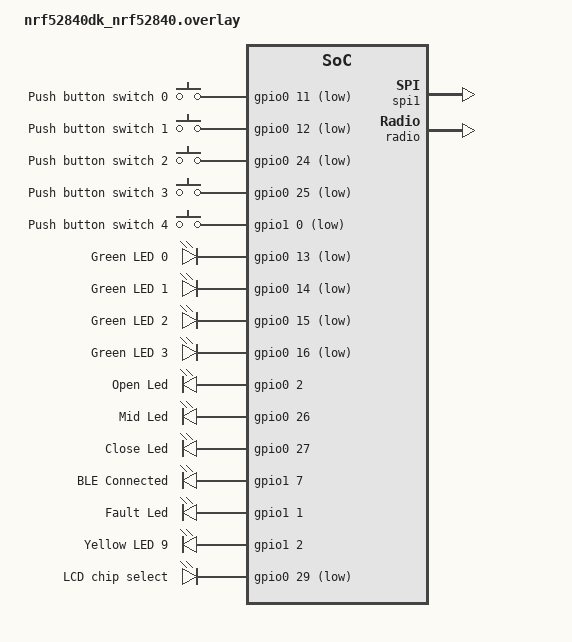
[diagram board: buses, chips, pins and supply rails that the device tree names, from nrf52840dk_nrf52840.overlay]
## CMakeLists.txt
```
#
# Copyright (c) 2018 Nordic Semiconductor
#
# SPDX-License-Identifier: LicenseRef-Nordic-5-Clause
#
cmake_minimum_required(VERSION 3.20.0)

find_package(Zephyr REQUIRED HINTS $ENV{ZEPHYR_BASE})
project(central_uart)

# NORDIC SDK APP START
target_sources(app PRIVATE
  src/main.c
  src/system.c
  src/communications.c
  src/database.c
  src/spin3204_control.c
  src/commands.c
  src/commands_tasks.c
  src/lcd_spiModule.c
  src/remote.c
  src/adt_cbuffer.c
  src/encoding_checksum.cpp
)

target_include_directories(app
  PRIVATE
    ./inc
)
# NORDIC SDK APP END

zephyr_library_include_directories(${CMAKE_CURRENT_SOURCE_DIR})
```

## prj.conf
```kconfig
#
# Copyright (c) 2018 Nordic Semiconductor
#
# SPDX-License-Identifier: LicenseRef-Nordic-5-Clause
#

# Enable the UART driver
CONFIG_UART_ASYNC_API=y
CONFIG_NRFX_UARTE0=y
CONFIG_SERIAL=y
CONFIG_CONSOLE=y
CONFIG_UART_CONSOLE=y

# Enable SPI
CONFIG_SPI=y

# Enable the BLE stack with GATT Client configuration
CONFIG_BT=y
CONFIG_BT_CENTRAL=y
CONFIG_BT_SMP=y
CONFIG_BT_GATT_CLIENT=y

# Enable the BLE modules from NCS
CONFIG_BT_NUS_CLIENT=y
CONFIG_BT_SCAN=y
CONFIG_BT_SCAN_FILTER_ENABLE=y
CONFIG_BT_SCAN_UUID_CNT=1
CONFIG_BT_GATT_DM=y
CONFIG_HEAP_MEM_POOL_SIZE=2048

# This example requires more workqueue stack
CONFIG_SYSTEM_WORKQUEUE_STACK_SIZE=2048

# Enable bonding
CONFIG_BT_SETTINGS=y
CONFIG_FLASH=y
CONFIG_FLASH_PAGE_LAYOUT=y
CONFIG_FLASH_MAP=y
CONFIG_NVS=y
CONFIG_SETTINGS=y

# Config logger
CONFIG_LOG=y
CONFIG_USE_SEGGER_RTT=y
CONFIG_LOG_BACKEND_RTT=n
CONFIG_LOG_BACKEND_UART=y
CONFIG_LOG_PRINTK=n

CONFIG_ASSERT=n

# Enable DK LED and Buttons library
CONFIG_DK_LIBRARY=y

# Floating point
CONFIG_FPU=y

CONFIG_BT_HCI_VS_EXT=n
CONFIG_BT_AUTO_PHY_UPDATE=y
CONFIG_BT_CTLR_ADV_EXT=y
CONFIG_BT_CTLR_PHY_CODED=y

CONFIG_BT_EXT_ADV=y
CONFIG_BT_USER_PHY_UPDATE=y

CONFIG_BT_CTLR_CONN_RSSI=y

CONFIG_BT_CTLR_TX_PWR_PLUS_8=y

CONFIG_MPSL=y
CONFIG_MPSL_FEM=y
CONFIG_MPSL_FEM_NRF21540_GPIO_SPI=y
CONFIG_MPSL_FEM_NRF21540_TX_GAIN_DB=22
CONFIG_MPSL_FEM_NRF21540_TX_GAIN_DB_POUTA=22
CONFIG_MPSL_FEM_POWER_MODEL_NRF21540_USE_BUILTIN=y
```

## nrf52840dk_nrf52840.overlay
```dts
// To get started, press Ctrl+Space to bring up the completion menu and view the available nodes.

// You can also use the buttons in the sidebar to perform actions on nodes.
// Actions currently available include:

// * Enabling / disabling the node
// * Adding the bus to a bus
// * Removing the node
// * Connecting ADC channels

// For more help, browse the DeviceTree documentation at https: //docs.zephyrproject.org/latest/guides/dts/index.html
// You can also visit the nRF DeviceTree extension documentation at https: //nrfconnect.github.io/vscode-nrf-connect/devicetree/nrfdevicetree.html
&arduino_i2c {
    status = "disabled";
};

lcd_spi: &spi1 {
    status = "okay";
    compatible = "nordic,nrf-spim";
};


/{
    buttons {
        compatible = "gpio-keys";
        button0: button_0 {
            gpios = <&gpio0 11 (GPIO_PULL_UP | GPIO_ACTIVE_LOW)>;
            label = "Push button switch 0";
            zephyr,code = <INPUT_KEY_0>;
        };
        button1: button_1 {
            gpios = <&gpio0 12 (GPIO_PULL_UP | GPIO_ACTIVE_LOW)>;
            label = "Push button switch 1";
            zephyr,code = <INPUT_KEY_1>;
        };
        button2: button_2 {
            gpios = <&gpio0 24 (GPIO_PULL_UP | GPIO_ACTIVE_LOW)>;
            label = "Push button switch 2";
            zephyr,code = <INPUT_KEY_2>;
        };
        button3: button_3 {
            gpios = <&gpio0 25 (GPIO_PULL_UP | GPIO_ACTIVE_LOW)>;
            label = "Push button switch 3";
            zephyr,code = <INPUT_KEY_3>;
        };
        button4: button_4 {
            gpios = <&gpio1 0 (GPIO_ACTIVE_LOW)>;
            label = "Push button switch 4";
            zephyr,code = <INPUT_KEY_4>;
        };
    };

    leds {
        compatible = "gpio-leds";
        led0: led_0 {
            gpios = <&gpio0 13 GPIO_ACTIVE_LOW>;
            label = "Green LED 0";
        };
        led1: led_1 {
            gpios = <&gpio0 14 GPIO_ACTIVE_LOW>;
            label = "Green LED 1";
        };
        led2: led_2 {
            gpios = <&gpio0 15 GPIO_ACTIVE_LOW>;
            label = "Green LED 2";
        };
        led3: led_3 {
            gpios = <&gpio0 16 GPIO_ACTIVE_LOW>;
            label = "Green LED 3";
        };
        led4: led_4 {
            gpios = <&gpio0 2 GPIO_ACTIVE_HIGH>;
            label = "Open Led";
        };
        led5: led_5 {
            gpios = <&gpio0 26 GPIO_ACTIVE_HIGH>;
            label = "Mid Led";
        };
        led6: led_6 {
            gpios = <&gpio0 27 GPIO_ACTIVE_HIGH>;
            label = "Close Led";
        };
        led7: led_7 {
            gpios = <&gpio1 7 GPIO_ACTIVE_HIGH>;
            label = "BLE Connected";
        };
        led8: led_8 {
            gpios = <&gpio1 1 GPIO_ACTIVE_HIGH>;
            label = "Fault Led";
        };
        led9: led_9 {
            gpios = <&gpio1 2 GPIO_ACTIVE_HIGH>;
            label = "Yellow LED 9";
        };
    };

    spi_cs {
        compatible = "gpio-leds";
        lcdcs: lcd_cs {
            gpios = <&gpio0 29 GPIO_ACTIVE_LOW>;
            label = "LCD chip select";
        };
    };
};


&radio {
    fem = <&nrf_radio_fem>;
};
```

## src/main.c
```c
/*
 * Copyright (c) 2018 Nordic Semiconductor ASA
 *
 * SPDX-License-Identifier: LicenseRef-Nordic-5-Clause
 */

/** @file
 *  @brief Nordic UART Service Client sample
 */

#include <errno.h>
#include <zephyr/kernel.h>
#include <zephyr/device.h>
#include <zephyr/devicetree.h>
#include <zephyr/sys/byteorder.h>
#include <zephyr/sys/printk.h>

#include <zephyr/bluetooth/bluetooth.h>
#include <zephyr/bluetooth/hci.h>
#include <zephyr/bluetooth/conn.h>
#include <zephyr/bluetooth/uuid.h>
#include <zephyr/bluetooth/gatt.h>

#include <bluetooth/services/nus.h>
#include <bluetooth/services/nus_client.h>
#include <bluetooth/gatt_dm.h>
#include <bluetooth/scan.h>

#include <sdc_hci_vs.h>
#include <sdc_hci_cmd_status_params.h>

#include <dk_buttons_and_leds.h>

#include <zephyr/settings/settings.h>

#include <zephyr/drivers/uart.h>

#include <zephyr/drivers/gpio.h>
#include <zephyr/drivers/spi.h>

#include <zephyr/logging/log.h>

#include "system.h"

#define LOG_MODULE_NAME central_uart
LOG_MODULE_REGISTER(LOG_MODULE_NAME);

/* UART payload buffer element size. */
#define STACKSIZE 1024
#define PRIORITY_BLE 5
#define PRIORITY_UI 7
#define PRIORITY_RSSI 13
#define UART_BUF_SIZE 20

#define KEY_PASSKEY_ACCEPT DK_BTN1_MSK
#define KEY_PASSKEY_REJECT DK_BTN2_MSK

#define NUS_WRITE_TIMEOUT K_MSEC(150)
#define UART_WAIT_FOR_BUF_DELAY K_MSEC(50)
#define UART_RX_TIMEOUT 50

#define CON_STATUS_LED 7

static const struct device *uart = DEVICE_DT_GET(DT_NODELABEL(uart0));
static struct k_work_delayable uart_work;

static const struct device *lcd = DEVICE_DT_GET(DT_NODELABEL(lcd_spi));

static const struct gpio_dt_spec lcdcs = GPIO_DT_SPEC_GET(DT_NODELABEL(lcdcs),
														  gpios);

static K_SEM_DEFINE(nus_write_sem, 0, 1);
static K_SEM_DEFINE(lcd_ini_ok, 0, 1);
static K_SEM_DEFINE(rssi_sem, 0, 1);

struct uart_data_t
{
	void *fifo_reserved;
	uint8_t data[UART_BUF_SIZE];
	uint16_t len;
};

static K_FIFO_DEFINE(fifo_uart_tx_data);
static K_FIFO_DEFINE(fifo_uart_rx_data);

static struct bt_conn *default_conn;
static struct bt_nus_client nus_client;

static void ble_data_sent(struct bt_nus_client *nus, uint8_t err,
						  const uint8_t *const data, uint16_t len)
{
	ARG_UNUSED(nus);

	struct uart_data_t *buf;

	/* Retrieve buffer context. */
	buf = CONTAINER_OF(data, struct uart_data_t, data[0]);
	k_free(buf);

	k_sem_give(&nus_write_sem);

	if (err)
	{
		LOG_WRN("ATT error code: 0x%02X", err);
	}
}

static uint8_t ble_data_received(struct bt_nus_client *nus,
								 const uint8_t *data, uint16_t len)
{
	ARG_UNUSED(nus);

	if (len == 12)
	{
		LOG_DBG("%.10s", data);
	}
	else
	{
		LOG_DBG("%s", data);
	}
	system_receiveUpdate(data, len);

	return BT_GATT_ITER_CONTINUE;
}

static void uart_cb(const struct device *dev, struct uart_event *evt, void *user_data)
{
	ARG_UNUSED(dev);

	static size_t aborted_len;
	struct uart_data_t *buf;
	static uint8_t *aborted_buf;
	static bool disable_req;

	switch (evt->type)
	{
	case UART_TX_DONE:
		LOG_DBG("UART_TX_DONE");
		if ((evt->data.tx.len == 0) ||
			(!evt->data.tx.buf))
		{
			return;
		}

		if (aborted_buf)
		{
			buf = CONTAINER_OF(aborted_buf, struct uart_data_t,
							   data[0]);
			aborted_buf = NULL;
			aborted_len = 0;
		}
		else
		{
			buf = CONTAINER_OF(evt->data.tx.buf,
							   struct uart_data_t,
							   data[0]);
		}

		k_free(buf);

		buf = k_fifo_get(&fifo_uart_tx_data, K_NO_WAIT);
		if (!buf)
		{
			return;
		}

		if (uart_tx(uart, buf->data, buf->len, SYS_FOREVER_MS))
		{
			LOG_WRN("Failed to send data over UART");
		}

		break;

	case UART_RX_RDY:
		LOG_DBG("UART_RX_RDY");
		buf = CONTAINER_OF(evt->data.rx.buf, struct uart_data_t, data[0]);
		buf->len += evt->data.rx.len;

		if (disable_req)
		{
			return;
		}

		if ((evt->data.rx.buf[buf->len - 1] == '\n') ||
			(evt->data.rx.buf[buf->len - 1] == '\r'))
		{
			disable_req = true;
			uart_rx_disable(uart);
		}

		break;

	case UART_RX_DISABLED:
		LOG_DBG("UART_RX_DISABLED");
		disable_req = false;

		buf = k_malloc(sizeof(*buf));
		if (buf)
		{
			buf->len = 0;
		}
		else
		{
			LOG_WRN("Not able to allocate UART receive buffer");
			k_work_reschedule(&uart_work, UART_WAIT_FOR_BUF_DELAY);
			return;
		}

		uart_rx_enable(uart, buf->data, sizeof(buf->data),
					   UART_RX_TIMEOUT);

		break;

	case UART_RX_BUF_REQUEST:
		LOG_DBG("UART_RX_BUF_REQUEST");
		buf = k_malloc(sizeof(*buf));
		if (buf)
		{
			buf->len = 0;
			uart_rx_buf_rsp(uart, buf->data, sizeof(buf->data));
		}
		else
		{
			LOG_WRN("Not able to allocate UART receive buffer");
		}

		break;

	case UART_RX_BUF_RELEASED:
		LOG_DBG("UART_RX_BUF_RELEASED");
		buf = CONTAINER_OF(evt->data.rx_buf.buf, struct uart_data_t,
						   data[0]);

		if (buf->len > 0)
		{
			k_fifo_put(&fifo_uart_rx_data, buf);
		}
		else
		{
			k_free(buf);
		}

		break;

	case UART_TX_ABORTED:
		LOG_DBG("UART_TX_ABORTED");
		if (!aborted_buf)
		{
			aborted_buf = (uint8_t *)evt->data.tx.buf;
		}

		aborted_len += evt->data.tx.len;
		buf = CONTAINER_OF(aborted_buf, struct uart_data_t,
						   data[0]);

		uart_tx(uart, &buf->data[aborted_len],
				buf->len - aborted_len, SYS_FOREVER_MS);

		break;

	default:
		break;
	}
}

static void uart_work_handler(struct k_work *item)
{
	struct uart_data_t *buf;

	buf = k_malloc(sizeof(*buf));
	if (buf)
	{
		buf->len = 0;
	}
	else
	{
		LOG_WRN("Not able to allocate UART receive buffer");
		k_work_reschedule(&uart_work, UART_WAIT_FOR_BUF_DELAY);
		return;
	}

	uart_rx_enable(uart, buf->data, sizeof(buf->data), UART_RX_TIMEOUT);
}

static int uart_init(void)
{
	int err;
	struct uart_data_t *rx;

	if (!device_is_ready(uart))
	{
		LOG_ERR("UART device not ready");
		return -ENODEV;
	}

	rx = k_malloc(sizeof(*rx));
	if (rx)
	{
		rx->len = 0;
	}
	else
	{
		return -ENOMEM;
	}

	k_work_init_delayable(&uart_work, uart_work_handler);

	err = uart_callback_set(uart, uart_cb, NULL);
	if (err)
	{
		return err;
	}

	return uart_rx_enable(uart, rx->data, sizeof(rx->data),
						  UART_RX_TIMEOUT);
}

static void discovery_complete(struct bt_gatt_dm *dm,
							   void *context)
{
	struct bt_nus_client *nus = context;
	LOG_INF("Service discovery completed");

	bt_gatt_dm_data_print(dm);

	bt_nus_handles_assign(dm, nus);
	bt_nus_subscribe_receive(nus);

	bt_gatt_dm_data_release(dm);
}

static void discovery_service_not_found(struct bt_conn *conn,
										void *context)
{
	LOG_INF("Service not found");
}

static void discovery_error(struct bt_conn *conn,
							int err,
							void *context)
{
	LOG_WRN("Error while discovering GATT database: (%d)", err);
}

struct bt_gatt_dm_cb discovery_cb = {
	.completed = discovery_complete,
	.service_not_found = discovery_service_not_found,
	.error_found = discovery_error,
};

static void gatt_discover(struct bt_conn *conn)
{
	int err;

	if (conn != default_conn)
	{
		return;
	}

	err = bt_gatt_dm_start(conn,
						   BT_UUID_NUS_SERVICE,
						   &discovery_cb,
						   &nus_client);
	if (err)
	{
		LOG_ERR("could not start the discovery procedure, error "
				"code: %d",
				err);
	}
}

static void exchange_func(struct bt_conn *conn, uint8_t err, struct bt_gatt_exchange_params *params)
{
	if (!err)
	{
		LOG_INF("MTU exchange done");
	}
	else
	{
		LOG_WRN("MTU exchange failed (err %" PRIu8 ")", err);
	}
}

static void connected(struct bt_conn *conn, uint8_t conn_err)
{
	char addr[BT_ADDR_LE_STR_LEN];
	int err;

	bt_addr_le_to_str(bt_conn_get_dst(conn), addr, sizeof(addr));

	if (conn_err)
	{
		LOG_INF("Failed to connect to %s (%d)", addr, conn_err);

		if (default_conn == conn)
		{
			bt_conn_unref(default_conn);
			default_conn = NULL;

			err = bt_scan_start(BT_SCAN_TYPE_SCAN_ACTIVE);
			if (err)
			{
				LOG_ERR("Scanning failed to start (err %d)",
						err);
			}
		}

		return;
	}

	dk_set_led_on(CON_STATUS_LED);
	LOG_INF("Connected: %s", addr);

	static struct bt_gatt_exchange_params exchange_params;

	exchange_params.func = exchange_func;
	err = bt_gatt_exchange_mtu(conn, &exchange_params);
	if (err)
	{
		LOG_WRN("MTU exchange failed (err %d)", err);
	}

	err = bt_conn_set_security(conn, BT_SECURITY_L2);
	if (err)
	{
		LOG_WRN("Failed to set security: %d", err);

		gatt_discover(conn);
	}

	err = bt_scan_stop();
	if ((!err) && (err != -EALREADY))
	{
		LOG_ERR("Stop LE scan failed (err %d)", err);
	}

	k_sem_give(&rssi_sem);
}

static void disconnected(struct bt_conn *conn, uint8_t reason)
{
	char addr[BT_ADDR_LE_STR_LEN];
	int err;

	bt_addr_le_to_str(bt_conn_get_dst(conn), addr, sizeof(addr));

	LOG_INF("Disconnected: %s (reason %u)", addr, reason);
	dk_set_led_off(CON_STATUS_LED);

	if (default_conn != conn)
	{
		return;
	}

	bt_conn_unref(default_conn);
	default_conn = NULL;

	err = bt_scan_start(BT_SCAN_TYPE_SCAN_ACTIVE);
	if (err)
	{
		LOG_ERR("Scanning failed to start (err %d)",
				err);
	}
}

static void security_changed(struct bt_conn *conn, bt_security_t level,
							 enum bt_security_err err)
{
	char addr[BT_ADDR_LE_STR_LEN];

	bt_addr_le_to_str(bt_conn_get_dst(conn), addr, sizeof(addr));

	if (!err)
	{
		LOG_INF("Security changed: %s level %u", addr, level);
	}
	else
	{
		LOG_WRN("Security failed: %s level %u err %d", addr,
				level, err);
	}

	gatt_discover(conn);
}

BT_CONN_CB_DEFINE(conn_callbacks) = {
	.connected = connected,
	.disconnected = disconnected,
	.security_changed = security_changed};

static void scan_filter_match(struct bt_scan_device_info *device_info,
							  struct bt_scan_filter_match *filter_match,
							  bool connectable)
{
	int err;
	char addr[BT_ADDR_LE_STR_LEN];
	struct bt_conn_le_create_param *conn_params;

	bt_addr_le_to_str(device_info->recv_info->addr, addr, sizeof(addr));

	LOG_INF("Filters matched. Address: %s connectable: %d",
			addr, connectable);

	err = bt_scan_stop();
	if (err)
	{
		LOG_INF("Stop LE scan failed (err %d)", err);
	}
	conn_params = BT_CONN_LE_CREATE_PARAM(
		BT_CONN_LE_OPT_CODED | BT_CONN_LE_OPT_NO_1M,
		BT_GAP_SCAN_FAST_INTERVAL,
		BT_GAP_SCAN_FAST_INTERVAL);
	err = bt_conn_le_create(device_info->recv_info->addr, conn_params,
							BT_LE_CONN_PARAM_DEFAULT,
							&default_conn);
	if (err)
	{
		LOG_INF("Create conn failed (err %d)", err);
		err = bt_scan_start(BT_SCAN_TYPE_SCAN_ACTIVE);
		if (err)
		{
			LOG_INF("Scanning failed to start (err %d)", err);
			return;
		}
	}
	LOG_INF("Connection pending");
}

static void scan_connecting_error(struct bt_scan_device_info *device_info)
{
	LOG_WRN("Connecting failed");
}

static void scan_connecting(struct bt_scan_device_info *device_info,
							struct bt_conn *conn)
{
	default_conn = bt_conn_ref(conn);
}

static int nus_client_init(void)
{
	int err;
	struct bt_nus_client_init_param init = {
		.cb = {
			.received = ble_data_received,
			.sent = ble_data_sent,
		}};

	err = bt_nus_client_init(&nus_client, &init);
	if (err)
	{
		LOG_ERR("NUS Client initialization failed (err %d)", err);
		return err;
	}

	LOG_INF("NUS Client module initialized");
	return err;
}

BT_SCAN_CB_INIT(scan_cb, scan_filter_match, NULL,
				scan_connecting_error, scan_connecting);

static int scan_init(void)
{
	int err;
	/* Use active scanning and disable duplicate filtering to handle any
	 * devices that might update their advertising data at runtime. */
	struct bt_le_scan_param scan_param = {
		.type = BT_LE_SCAN_TYPE_ACTIVE,
		.interval = BT_GAP_SCAN_FAST_INTERVAL,
		.window = BT_GAP_SCAN_FAST_WINDOW,
		.options = BT_LE_SCAN_OPT_CODED | BT_LE_SCAN_OPT_NO_1M};

	struct bt_scan_init_param scan_init = {
		.connect_if_match = 1,
		.scan_param = &scan_param,
		.conn_param = NULL};

	bt_scan_init(&scan_init);
	bt_scan_cb_register(&scan_cb);

	err = bt_scan_filter_add(BT_SCAN_FILTER_TYPE_UUID, BT_UUID_NUS_SERVICE);
	if (err)
	{
		LOG_ERR("Scanning filters cannot be set (err %d)", err);
		return err;
	}

	err = bt_scan_filter_enable(BT_SCAN_UUID_FILTER, false);
	if (err)
	{
		LOG_ERR("Filters cannot be turned on (err %d)", err);
		return err;
	}

	LOG_INF("Scan module initialized");
	return err;
}

static void auth_cancel(struct bt_conn *conn)
{
	char addr[BT_ADDR_LE_STR_LEN];

	bt_addr_le_to_str(bt_conn_get_dst(conn), addr, sizeof(addr));

	LOG_INF("Pairing cancelled: %s", addr);
}

static void pairing_complete(struct bt_conn *conn, bool bonded)
{
	char addr[BT_ADDR_LE_STR_LEN];

	bt_addr_le_to_str(bt_conn_get_dst(conn), addr, sizeof(addr));

	LOG_INF("Pairing completed: %s, bonded: %d", addr, bonded);
}

static void pairing_failed(struct bt_conn *conn, enum bt_security_err reason)
{
	char addr[BT_ADDR_LE_STR_LEN];

	bt_addr_le_to_str(bt_conn_get_dst(conn), addr, sizeof(addr));

	LOG_WRN("Pairing failed conn: %s, reason %d", addr, reason);
}

static struct bt_conn_auth_cb conn_auth_callbacks = {
	.cancel = auth_cancel,
};

static struct bt_conn_auth_info_cb conn_auth_info_callbacks = {
	.pairing_complete = pairing_complete,
	.pairing_failed = pairing_failed};

static void configure_gpio(void)
{
	int err;

	err = dk_buttons_init(system_updateButtons);
	if (err)
	{
		LOG_ERR("Cannot init buttons (err: %d)", err);
	}

	err = dk_leds_init();
	if (err)
	{
		LOG_ERR("Cannot init LEDs (err: %d)", err);
	}
}

static int configure_spi(void)
{
	int err;

	err = gpio_pin_configure_dt(&lcdcs, GPIO_OUTPUT);
	if (err)
	{
		LOG_ERR("Cannot configure LCD CS gpio");
		return -ENODEV;
	}
	gpio_pin_set_dt(&lcdcs, 0);

	if (!device_is_ready(lcd))
	{
		LOG_ERR("SPI not initialized");
		return -ENODEV;
	}

	return 0;
}

#define FEM_NRF_NODE DT_NODELABEL(nrf_radio_fem)
static const struct gpio_dt_spec antenna_sel = GPIO_DT_SPEC_GET(FEM_NRF_NODE, ant_sel_gpios);

int main(void)
{
	int err;

	configure_gpio();

	configure_spi();

	err = bt_conn_auth_cb_register(&conn_auth_callbacks);
	if (err)
	{
		LOG_ERR("Failed to register authorization callbacks.");
		return 0;
	}

	err = bt_conn_auth_info_cb_register(&conn_auth_info_callbacks);
	if (err)
	{
		printk("Failed to register authorization info callbacks.\n");
		return 0;
	}

	err = bt_enable(NULL);
	if (err)
	{
		LOG_ERR("Bluetooth init failed (err %d)", err);
		return 0;
	}
	LOG_INF("Bluetooth initialized");

	if (IS_ENABLED(CONFIG_SETTINGS))
	{
		settings_load();
	}

	err = uart_init();
	if (err != 0)
	{
		LOG_ERR("uart_init failed (err %d)", err);
		return 0;
	}

	// Select Antenna 2
	gpio_pin_set_dt(&antenna_sel, 1);

	err = scan_init();
	if (err != 0)
	{
		LOG_ERR("scan_init failed (err %d)", err);
		return 0;
	}

	err = nus_client_init();
	if (err != 0)
	{
		LOG_ERR("nus_client_init failed (err %d)", err);
		return 0;
	}

	printk("**STAVENG TRANSFERA** \n");
	printk("-- Searching for slaves... \n");

	err = bt_scan_start(BT_SCAN_TYPE_SCAN_ACTIVE);
	if (err)
	{
		LOG_ERR("Scanning failed to start (err %d)", err);
		return 0;
	}

	LOG_INF("Scanning successfully started");

	system_init(lcd, &lcdcs);
	k_sem_give(&lcd_ini_ok);

	for (;;)
	{
		system_thread();
		k_sleep(K_MSEC(25));
	}
}

void sendBLE(uint8_t *data, uint8_t len)
{
	for (uint16_t pos = 0; pos != len;)
	{
		struct uart_data_t *tx = k_malloc(sizeof(*tx));

		if (!tx)
		{
			LOG_WRN("Not able to allocate UART send data buffer");
			return;
		}

		if ((len - pos) > sizeof(tx->data))
		{
			tx->len = sizeof(tx->data);
		}
		else
		{
			tx->len = (len - pos);
		}

		memcpy(tx->data, &data[pos], tx->len);

		pos += tx->len;

		k_fifo_put(&fifo_uart_rx_data, tx);
	}
}

static void update_user_interface(void)
{
	k_sem_take(&lcd_ini_ok, K_FOREVER);

	for (;;)
	{
		struct bt_conn_info info = {.state = BT_CONN_STATE_DISCONNECTED};
		if (default_conn && bt_conn_get_info(default_conn, &info))
		{
			LOG_WRN("Error getting BT connection info");
		}

		uint8_t connectionState = 0;
		if (info.state == BT_CONN_STATE_CONNECTED)
		{
			connectionState = BT_CONN_STATE_CONNECTED;
		}
		system_updateUi(connectionState);
		k_sleep(K_MSEC(500));
	}
}

static void ble_write_thread(void)
{
	for (;;)
	{
		uint8_t log = 1;
		/* Wait indefinitely for data to be sent over Bluetooth */
		struct uart_data_t *buf = k_fifo_get(&fifo_uart_rx_data,
											 K_FOREVER);

		if (bt_nus_client_send(&nus_client, buf->data, buf->len))
		{
			LOG_WRN("Failed to send data over BLE connection");
		}

		while (k_sem_take(&nus_write_sem, NUS_WRITE_TIMEOUT))
		{
			if (log)
			{
				LOG_WRN("NUS send timeout");
				log = 0;
			}
		}
	}
}

void ble_rssi_thread(void)
{
	uint16_t conn_handle = 0;

	while (1)
	{
		k_sem_take(&rssi_sem, K_FOREVER);
		k_sleep(K_MSEC(2000));
		bt_hci_get_conn_handle(default_conn, &conn_handle);
		sdc_hci_cmd_sp_read_rssi_t p_param = {conn_handle};

		for (;;)
		{
			sdc_hci_cmd_sp_read_rssi_return_t p_return = {conn_handle, 0};
			uint8_t err = sdc_hci_cmd_sp_read_rssi(&p_param, &p_return);
			if (err)
			{
				LOG_WRN("Error %d Reading RSSI", err);
				break;
			}
			else
			{
				system_setRssi(p_return.rssi);
			}

			k_sleep(K_MSEC(1000));
		}
	}
}

K_THREAD_DEFINE(ble_thread_id, STACKSIZE, ble_write_thread, NULL, NULL, NULL, PRIORITY_BLE, 0, 0);

K_THREAD_DEFINE(ui_thread_id, STACKSIZE, update_user_interface, NULL, NULL,
				NULL, PRIORITY_UI, 0, 0);

K_THREAD_DEFINE(ble_rssi_thread_id, STACKSIZE, ble_rssi_thread, NULL, NULL,
				NULL, PRIORITY_RSSI, 0, 0);
```

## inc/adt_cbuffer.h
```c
#ifndef ADT_CBUFFER_H_
#define ADT_CBUFFER_H_

#include "adt_codes.h"
#include <stdint.h>

/*
 * Circular buffer ADT
 *
 * Data is designated in 8-bit chunks, adding a void*
 * will split the data up in uint8_t. It is expected
 * that all the data is aligned to tsize.
 */

/**
 * @brief Structure for cbuffer internals.
 */
typedef struct Adt_CBuffer_t_ Adt_CBuffer_t;

/**
 * @brief Initialize the cbuffer for use.
 *
 * @param[in] handle pointer to an allocated buffer struct.
 * @param[in] buffer pointer to an allocated data array of the size required (@ref length).
 * @param[in] size type size of a single element of the data array. Eg. sizeof(uint8_t).
 * @param[in] length number of elements in the data array.
 * @returns ADT_OK on success or ADT_ERROR on failure / bad parameters.
 */
Adt_Result_e adt_cbuffer_init(Adt_CBuffer_t *handle, void *buffer, uint8_t size, uint16_t length);

/**
 * @brief Length of the cbuffer (number of stored items).
 *
 * @param[in] handle pointer to an allocated and initialized buffer struct.
 * @returns number of elements in the cbuffer, or -1 if uninitialized or error.
 */
int32_t adt_cbuffer_getLength(const Adt_CBuffer_t *handle);

/**
 * @brief Push an item (or items) into the cbuffer.
 *
 * @param[in] handle pointer to an allocated and initialized buffer struct.
 * @param[in] buffer array of data to store in the cbuffer. The array elements must be partitioned
 * in chunks of typeSize, per the adt_cbuffer_init(...) parameter, or behavior is undefined.
 * @param[in] count number of items from the data array to store. Must be less than or equal to the
 * data array length and less than or equal to the available free space in the cbuffer.
 * @returns ADT_OK on success or ADT_ERROR/ADT_OVERFLOW on failure / bad parameters.
 */
Adt_Result_e adt_cbuffer_push(Adt_CBuffer_t *handle, const void *const buffer, uint16_t count);

/**
 * @brief Read an item (or items) from the cbuffer.
 *
 * This removes the items from the buffer and increases available space for writing.
 *
 * @param[in] handle pointer to an allocated and initialized buffer struct.
 * @param[out] buffer allocated array to store the read elements. The array elements must be
 * partitioned in chunks of typeSize, per the adt_cbuffer_init(...) parameter, or behavior
 * is undefined.
 * @param[in] count number of items to read from the buffer. Must be less than or equal to the
 * number of items stored in the cbuffer.
 * @returns ADT_OK on success or ADT_ERROR/ADT_UNDDERUN on failure / bad parameters.
 */
Adt_Result_e adt_cbuffer_poll(Adt_CBuffer_t *handle, void *buffer, uint16_t count);

/**
 * @brief Read a single item from the cbuffer.
 *
 * This peeks at the first item ready to be read from the buffer. This does not remove the item and
 * does not increases available space for writing.
 *
 * @param handle pointer to an allocated and initialized buffer struct.
 * @param buffer pointer to a variable to store the read element. The variable must match typeSize,
 * per the adt_cbuffer_init(...) parameter, or behavior is undefined.
 * @returns ADT_OK on success or ADT_ERROR/ADT_UNDDERUN on failure / bad parameters.
 */
Adt_Result_e adt_cbuffer_peek(Adt_CBuffer_t *handle, void *buffer);

/**
 * @brief Reset the cbuffer to default state.
 *
 * This clears the internal state of the cbuffer, allowing full write space to be available again.
 * It will not delete or clear actual memory in order for the call to be as fast as possible, but
 * the buffer will behave as if empty for subsequent length/peek/poll/write commands.
 *
 * @param handle pointer to an allocated and initialized buffer struct.
 * @returns ADT_OK on success or ADT_ERROR on failure.
 */
Adt_Result_e adt_cbuffer_reset(Adt_CBuffer_t *handle);

///
///
/// NOTE: Below structures and objects are private, and should not be used
///       outside of the API.
///
///

typedef struct Adt_CBuffer_t_
{
    uint8_t *dataIn;
    uint8_t *dataOut;
    uint8_t *buffer;

    Adt_InitState_e initState;

    uint16_t length;
    uint8_t dataTypeSize;
    uint8_t endOfBuffer;
} Adt_CBuffer_t;

#endif /* ADT_CBUFFER_H_ */
```

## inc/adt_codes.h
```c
#ifndef ADT_ADTCODES_H_
#define ADT_ADTCODES_H_

typedef enum
{
    ADT_OK,
    ADT_OVERFLOW,
    ADT_UNDERRUN,
    ADT_EMPTY,
    ADT_OUT_OF_SPACE,
    ADT_OUT_OF_BOUNDS,
    ADT_NOT_READY,
    ADT_ERROR,
    ADT_BUSY
} Adt_Result_e;

typedef enum
{
    ADT_UNINITIALIZED,
    ADT_INITIALIZED
} Adt_InitState_e;

#endif /* ADT_ADTCODES_H_ */
```

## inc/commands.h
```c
#ifndef _COMMANDS_H_
#define _COMMANDS_H_

#include <stdint.h>

typedef enum Command_e_
{
    COMMAND_NONE,
    COMMAND_HOMING,
    COMMAND_EACK,
    COMMAND_SYSTEM_RESET,
    COMMAND_STOP,
    COMMAND_HOOK_CLOSE = 128,
    COMMAND_HOOK_MID_CLOSE = 136,
    COMMAND_HOOK_OPEN = 144,
    COMMAND_HOOK_MID_OPEN = 152,
} Command_e;

typedef enum CommandState_e_
{
    COMMAND_STATE_START,
    COMMAND_STATE_SETUP,
    COMMAND_STATE_ACTION,
    COMMAND_STATE_TEARDOWN,
    COMMAND_STATE_END,
    COMMAND_STATE_FINISH,
} CommandState_e;

typedef struct CommandInput_t_
{
    Command_e operation;
    int32_t parameter1;
    int32_t parameter2;
    int32_t parameter3;
} CommandInput_t;

typedef struct CommandObject_t_
{
    Command_e operation;
    CommandState_e state;
    uint32_t timer;
    CommandState_e (*task)(struct CommandObject_t_ *);
} CommandObject_t;

void command_addToBuffer(CommandInput_t *cmd);
uint8_t command_isInExecution(void);
void command_run(void);
void command_flush(void);

CommandState_e executeCmdTaskHoming(CommandObject_t *);
CommandState_e executeCmdTaskEack(CommandObject_t *);
CommandState_e executeCmdTaskStop(CommandObject_t *);
CommandState_e executeCmdTaskReboot(CommandObject_t *);
CommandState_e executeCmdClose(CommandObject_t *);
CommandState_e executeCmdMidClose(CommandObject_t *);
CommandState_e executeCmdMidOpen(CommandObject_t *);
CommandState_e executeCmdOpen(CommandObject_t *);

#endif
```

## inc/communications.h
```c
#ifndef _COMMUNICATIONS_H_
#define _COMMUNICATIONS_H_

#include <stdint.h>

void comm_init(void);

void comm_addToMotorBuffer(const uint8_t *const data, uint32_t length);
void comm_removeFromMotorBuffer(uint8_t *buffer, uint32_t length);
uint32_t comm_getAvailableMotorDataLength(void);
uint8_t comm_peekFromMotorBuffer(void);

#endif
```

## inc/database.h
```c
#ifndef _DATABASE_H_
#define _DATABASE_H_

#include <stdint.h>
#include <stdbool.h>

typedef enum HookState_e_
{
    HOOK_STATE_UNINITIALIZED,
    HOOK_STATE_CLOSED,
    HOOK_STATE_PARTIALLY_CLOSED,
    HOOK_STATE_MID,
    HOOK_STATE_PARTIALLY_OPEN,
    HOOK_STATE_OPEN,
    HOOK_STATE_ERROR,
} HookState_e;

typedef enum HookTarget_e_
{
    HOOK_TARGET_HOMING,
    HOOK_TARGET_CLOSED,
    HOOK_TARGET_MID,
    HOOK_TARGET_OPEN,
} HookTarget_e;

typedef enum Errors_e_
{
    ERROR_NONE,
    ERROR_INVALID_PARAMETER,
    ERROR_FAILED_TO_START_MOTOR,
    ERROR_OVERLOAD,
    ERROR_COMMAND_TIMEOUT,
    ERROR_INVALID_SEQUENCE_NUMBER,
    ERROR_ESTOP,
    ERROR_PROTECTION_ACTIVATED,
    ERROR_MOTOR_JAMMED,

} Errors_e;

typedef enum DataSource_e_
{
    SOURCE_SPIN3204 = 0,
    SOURCE_LOADMASTER = 1,
} DataSource_e;

typedef enum CurrentLimitValues_e_
{
    CURRENT_LIMIT_RECOVERY = 0,
    CURRENT_LIMIT_OPERATION,
} CurrentLimitValues_e;

void database_run(void);

int16_t database_getHomingSpeed(void);
bool database_setHomingSpeed(int16_t);
int16_t database_getClosingSpeed(void);
bool database_setClosingSpeed(int16_t);
int16_t database_getOpeningSpeed(void);
bool database_setOpeningSpeed(int16_t speed);
uint8_t database_getReplySeqNo(void);
uint8_t database_getNextSeqNo(void);

uint16_t database_convertTargetToValue(HookTarget_e);
HookState_e database_getState(void);
uint8_t database_isAtEndStroke(void);
bool database_isProtectionTriggered(void);
bool database_isPositionEncoderHome(void);
uint16_t database_getCurrentAt(CurrentLimitValues_e value);

int16_t database_getCurrent(void);
uint16_t database_getVoltage(void);
uint8_t database_getError(void);
void database_setError(Errors_e error);
void database_eackError(void);
uint8_t database_isReadyForLifting(void);

void database_resetPosition(void);
void database_printHookPosition(void);
bool database_isStopped(void);

#endif
```

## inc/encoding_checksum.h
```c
#ifndef CHECKSUM_H_
#define CHECKSUM_H_

#ifdef __cplusplus
extern "C" { // AUTO-EXTERN_C
#endif

#include <stdbool.h>
#include <stdint.h>

/**
 * @brief Fletcher checksum (wikipedia)
 *
 * @param data pointer to data
 * @param bytes number of bytes
 * @param seed gives the start values for the checksum
 *
 * The seed can be used to start the calculation on a different value than 0 or for combining
 * fletcher16 checksums of multiple sources. E.g. an array can be split and calculating the
 * checksum for the first half and using this as seed for the second half will give the same
 * result as a calculation for the entire array. This can be used to combine checksums for
 * different parts of a message e.g. the header and the payload.
 *
 * @return uint16_t checksum
 */
uint16_t encoding_calculateFletcher16ChecksumWithSeed(const uint8_t *data,
                                                      uint32_t bytes,
                                                      uint16_t seed);

/**
 * @brief Fletcher checksum without seed
 *
 * Same as flecher with seed set to 0
 *
 * @param data pointer to data
 * @param bytes number of bytes
 *
 * @return uint16_t checksum
 */
uint16_t encoding_calculateFletcher16Checksum(const uint8_t *data, uint32_t bytes);

/**
 * @brief Check if the received checksum data matches the received checksumed data
 *
 * @param rxData pointer to received data
 * @param bytes number of bytes
 * @param rxChecksum received checksum
 * @param seed starting point for checksum calculations
 * @return true if valid, false if not
 */
bool encoding_isFletcher16ChecksumValidWithSeed(const uint8_t *rxData,
                                                uint32_t bytes,
                                                uint16_t rxChecksum,
                                                uint16_t seed);

/**
 * @brief Check if the received checksum data matches the received checksumed data
 *
 * Same as validitiy check with seed set to 0
 *
 * @param rxData pointer to received data
 * @param bytes number of bytes
 * @param rxChecksum received checksum
 * @return true if valid, false if not
 */
bool encoding_isFletcher16ChecksumValid(const uint8_t *rxData, uint32_t bytes, uint16_t rxChecksum);

#ifdef __cplusplus
} // AUTO-EXTERN_C
#endif
#endif /* CHECKSUM_H_ */
```

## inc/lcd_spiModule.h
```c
#ifndef LCD_SPIMODULE_H_
#define LCD_SPIMODULE_H_

#include <stdint.h>

/**@brief Function for lcd default init with spi init. */
void lcd_init(const void *lcd_dev, const void *cs_dev);

/**@brief Function for setting lcd set-command. */
void lcd_set_command(uint8_t cmd);

/**@brief Function for writing, setting lcd data-command. */
void lcd_write_data(uint8_t data);

/**@brief Function for cleaning lcd monitor. */
void lcd_clear(void);

/**@brief Function for changing lcd cursor point. */
void lcd_set_cursor(uint8_t line_x, uint8_t chr_x);

/**@brief Function for sending string data to lcd. */
void lcd_send_string(char str[]);

/**@brief Function for sending string, int, float, ... values to lcd. */
void lcd_print(char const *ch, float value);

/**@brief Function to clear end of line*/
void lcd_clear_eol(void);

#endif
```

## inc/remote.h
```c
#ifndef _REMOTE_H_
#define _REMOTE_H_

#include <stdint.h>
#include "database.h"

void remote_init(void);
void remote_updateUi(void);
void remote_disconnectedUi(void);
void remote_updateButtons(uint32_t button_state, uint32_t has_changed);
void remote_updateHookState(HookState_e state);
void remote_run(void);
void remote_setRssi(int8_t rssi);

#endif
```

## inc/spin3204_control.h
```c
#ifndef _MOTOR_CONTROLLER_H_
#define _MOTOR_CONTROLLER_H_

#include <stdint.h>
#include <stdbool.h>

typedef enum Parameters_e_
{
    PARAMETER_NONE,
    PARAMETER_KP,
    PARAMETER_KI,
    PARAMETER_KD,
    PARAMETER_PID_SCALING_SHIFT,
    PARAMETER_PID_OUTPUT_MIN,
    PARAMETER_PID_OUTPUT_MAX,
    PARAMETER_CURRENT_LIMIT_VALUE,
    PARAMETER_CURRENT_LIMIT_TYPE,
    PARAMETER_CURRENT_LIMIT_ADC_FILTER_VALUE,
    PARAMETER_CURRENT_PIN_CONFIG,
    PARAMETER_IGNORE_SENSOR,

} Parameters_e;

void mc_moveTo(int16_t target, int16_t speed, uint8_t seqNo);
void mc_setPositionHome(void);
void mc_setPositionUninitialized(void);
void mc_eack(void);
void mc_stop(void);
void mc_reboot(void);
void mc_setIgnoreSensorParameter(uint8_t ignore);
void mc_setCurrentLimitParameter(uint16_t value);
void mc_readParameter(Parameters_e number);
void mc_setHardwareCurrentLimiter(bool enable);

#endif
```

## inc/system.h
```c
#ifndef _SYSTEM_H_
#define _SYSTEM_H_

#include <stdint.h>

void system_init(const void *lcd_dev, const void *cs_dev);
void system_updateUi(uint8_t connected);
void system_thread(void);
void system_receiveUpdate(const uint8_t *data, uint32_t length);
void system_updateButtons(uint32_t button_state, uint32_t has_changed);
void system_setRssi(int8_t rssi);

#endif
```

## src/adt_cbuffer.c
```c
#include "adt_cbuffer.h"
#include <string.h>

enum readMode
{
    CBUFFER_POLL,
    CBUFFER_PEEK
};

static Adt_Result_e read_cbuffer(Adt_CBuffer_t *handle,
                                 void *buffer,
                                 uint16_t count,
                                 enum readMode mode);

Adt_Result_e adt_cbuffer_init(Adt_CBuffer_t *handle, void *buffer, uint8_t size, uint16_t length)
{
    if (!handle || !buffer || !size || length < 2)
    {
        if (handle) // Set unintialized if possible.
        {
            handle->initState = ADT_UNINITIALIZED;
        }

        return ADT_ERROR;
    }

    handle->buffer = (uint8_t *)buffer;
    handle->dataTypeSize = size;
    handle->length = length;
    handle->endOfBuffer = 0;
    handle->dataIn = (uint8_t *)buffer;
    handle->dataOut = (uint8_t *)buffer;
    memset(handle->buffer, 0, size * length);

    handle->initState = ADT_INITIALIZED;
    return ADT_OK;
}

int32_t adt_cbuffer_getLength(const Adt_CBuffer_t *handle)
{
    if (!handle || handle->initState == ADT_UNINITIALIZED)
    {
        return -1;
    }

    // Full buffer
    if (handle->endOfBuffer)
    {
        return handle->length;
    }

    // Wrapped buffer
    if (handle->dataIn < handle->dataOut)
    {
        int32_t wrapSize = ((int32_t)(handle->dataOut - handle->dataIn)) / handle->dataTypeSize;
        return handle->length - wrapSize;
    }
    // Normal state
    else
    {
        return ((int32_t)(handle->dataIn - handle->dataOut)) / handle->dataTypeSize;
    }
}

/*
 * data can be array of multiple elements
 */
Adt_Result_e adt_cbuffer_push(Adt_CBuffer_t *handle, const void *const buffer, uint16_t count)
{
    // Assert
    if (!handle || !buffer || !count)
    {
        return ADT_ERROR;
    }
    if (handle->initState == ADT_UNINITIALIZED)
    {
        return ADT_NOT_READY;
    }

    uint32_t writeSize = handle->dataTypeSize * count;
    uint32_t bufferSize = adt_cbuffer_getLength(handle) * handle->dataTypeSize + writeSize;
    if (bufferSize > (uint32_t)(handle->dataTypeSize * handle->length))
    {
        return ADT_OVERFLOW;
    }
    if (bufferSize == (uint32_t)(handle->dataTypeSize * handle->length))
    {
        handle->endOfBuffer = 0x01; // end of buffer (in == out)
    }

    if (writeSize == 1)
    { // Save some resources if only pushing 1
        memcpy(handle->dataIn, buffer, writeSize);
        handle->dataIn += writeSize;
        if (handle->dataIn >= &handle->buffer[handle->length * handle->dataTypeSize])
        { // Wrap around
            handle->dataIn = handle->buffer;
        }
        return ADT_OK;
    }
    else
    { // Can be expensive if count is large
        uint32_t chunkSize = 0;
        if (handle->dataIn + writeSize <= &handle->buffer[handle->length * handle->dataTypeSize])
        { // No wraparound
            /*
             * no wraparoud
             * writeSize = 4
             *      o  i
             * [----====----]
             * = data
             * - no data
             */
            chunkSize = writeSize;
            memcpy(handle->dataIn, buffer, writeSize);
        }
        else
        {
            /*
             * wraparound
             * writeSize = 8
             *   c1 i  o c2
             * [====----====]
             *  b	       e
             * = data
             * - no data
             * c chunk
             */

            // len of first chunk e - o
            chunkSize = &handle->buffer[handle->length * handle->dataTypeSize] - handle->dataIn;
            memcpy(handle->dataIn,
                   buffer, // c2 o->e
                   chunkSize);
            // Move buffer pointer, cast to char for 8-bit alignment
            const char *alignedData = (const char *)buffer;
            alignedData += chunkSize;
            memcpy(handle->buffer,
                   alignedData, // c1 handle->i
                   writeSize - chunkSize);
        }
        handle->dataIn += writeSize;
        if (handle->dataIn >= &handle->buffer[handle->length * handle->dataTypeSize])
        { // Check wrap
            handle->dataIn = handle->buffer + (writeSize - chunkSize);
        }
    }

    return ADT_OK;
}

Adt_Result_e adt_cbuffer_poll(Adt_CBuffer_t *handle, void *buffer, uint16_t count)
{
    if (handle && buffer)
        return read_cbuffer(handle, buffer, count, CBUFFER_POLL);
    else
        return ADT_ERROR;
}

Adt_Result_e adt_cbuffer_peek(Adt_CBuffer_t *handle, void *buffer)
{
    if (handle && buffer)
        return read_cbuffer(handle, buffer, 1, CBUFFER_PEEK);
    else
        return ADT_ERROR;
}

Adt_Result_e adt_cbuffer_reset(Adt_CBuffer_t *handle)
{
    if (!handle || handle->initState == ADT_UNINITIALIZED)
        return ADT_ERROR;

    handle->endOfBuffer = 0;
    handle->dataIn = handle->buffer;
    handle->dataOut = handle->buffer;

    return ADT_OK;
}

static Adt_Result_e read_cbuffer(Adt_CBuffer_t *handle,
                                 void *buffer,
                                 uint16_t count,
                                 enum readMode mode)
{
    // Assert
    if (handle->initState == ADT_UNINITIALIZED)
    {
        return ADT_NOT_READY;
    }
    if (!count)
    {
        return ADT_ERROR;
    }
    uint32_t writeSize = handle->dataTypeSize * count;
    uint32_t bufferSize = adt_cbuffer_getLength(handle) * handle->dataTypeSize;
    if (bufferSize < writeSize)
    {
        if (!bufferSize)
        {
            return ADT_EMPTY;
        }
        return ADT_UNDERRUN;
    }

    if (writeSize == 1)
    { // Save some resources if only polling 1
        memcpy(buffer, handle->dataOut, 1);

        if (mode == CBUFFER_POLL)
        {                               // Move pointer only if polling
            handle->endOfBuffer = 0x00; // Reset EOB flag
            handle->dataOut += writeSize;
            if (handle->dataOut >= &handle->buffer[handle->length * handle->dataTypeSize])
            { // Wrap around
                handle->dataOut = handle->buffer;
            }
        }

        return ADT_OK;
    }
    else
    { // Can be expensive if count is large
        uint32_t chunkSize = 0;
        if (handle->dataOut + writeSize <= &handle->buffer[handle->length * handle->dataTypeSize])
        { // No wraparound
            chunkSize = writeSize;
            memcpy(buffer,
                   handle->dataOut, // Copy first section before wraparound
                   writeSize);
        }
        else
        {
            // len of first chunk e - o
            chunkSize = &handle->buffer[handle->length * handle->dataTypeSize] - handle->dataOut;
            memcpy(buffer,
                   handle->dataOut, // c2 o->e
                   chunkSize);
            // Move data pointer, cast to char for 8-bit alignment
            char *alignedBuffer = (char *)buffer;
            alignedBuffer += chunkSize;
            memcpy(alignedBuffer,
                   handle->buffer, // c1 buffer->i
                   writeSize - chunkSize);
        }

        if (mode == CBUFFER_POLL)
        {                               // Move pointer only if polling
            handle->endOfBuffer = 0x00; // Reset EOB flag
            handle->dataOut += writeSize;
            if (handle->dataOut >= &handle->buffer[handle->length * handle->dataTypeSize])
            {
                handle->dataOut = handle->buffer + (writeSize - chunkSize);
            }
        }

        return ADT_OK;
    }
}
```

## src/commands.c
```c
#include "commands.h"
#include "database.h"
#include <zephyr/logging/log.h>
#include <memory.h>
#include "remote.h"

#define LOG_MODULE_NAME commands
LOG_MODULE_REGISTER(LOG_MODULE_NAME);

#define TIMEOUT_COMMAND 1000
#define MAX_NUMBER_OF_COMMANDS 8
static CommandInput_t cmdBuffer[MAX_NUMBER_OF_COMMANDS];
static int32_t cmdIdxStore = 0; // Head
static int32_t cmdIdxUse = 0;   // Tail
static int32_t cmdCount = 0;
static CommandInput_t *cmd = NULL;
static CommandObject_t cmdObject;

static CommandInput_t *process(CommandInput_t *cmd, CommandObject_t *cmdObject);
static CommandInput_t *requestStop(void);

uint8_t command_isInExecution(void)
{
    return (cmd != NULL);
}

void command_addToBuffer(CommandInput_t *cmd)
{
    if (cmdCount < MAX_NUMBER_OF_COMMANDS)
    {
        memcpy(cmdBuffer + cmdIdxStore, cmd, sizeof(CommandInput_t));
        cmdIdxStore = (cmdIdxStore + 1) % MAX_NUMBER_OF_COMMANDS;
        ++cmdCount;
    }
    else
    {
        /// TODO(Silvio): Handle error
        LOG_ERR("[ERROR] Exceeded command buffer capacity");
    }
}

void command_flush(void)
{
    cmd = NULL;
    cmdCount = 0;
    cmdIdxUse = 0;
    cmdIdxStore = 0;
}

void command_run(void)
{
    if (cmdCount != 0 && cmd == NULL)
    {
        cmdObject.state = COMMAND_STATE_START;
        cmdObject.timer = 0;
        cmd = &cmdBuffer[cmdIdxUse];
        cmdIdxUse = (cmdIdxUse + 1) % MAX_NUMBER_OF_COMMANDS;
        --cmdCount;

        switch (cmd->operation)
        {
        case COMMAND_NONE:
            cmd = NULL;

            break;
        case COMMAND_HOMING:
            cmdObject.operation = cmd->operation;
            cmdObject.task = executeCmdTaskHoming;

            break;
        case COMMAND_EACK:
            cmdObject.operation = cmd->operation;
            cmdObject.task = executeCmdTaskEack;

            break;
        case COMMAND_SYSTEM_RESET:
            cmdObject.operation = cmd->operation;
            cmdObject.task = executeCmdTaskReboot;

            break;
        case COMMAND_STOP:
            cmdObject.operation = cmd->operation;
            cmdObject.task = executeCmdTaskStop;

            break;
        case COMMAND_HOOK_CLOSE:
            cmdObject.operation = cmd->operation;
            cmdObject.task = executeCmdClose;

            break;
        case COMMAND_HOOK_MID_CLOSE:
            cmdObject.operation = cmd->operation;
            cmdObject.task = executeCmdMidClose;

            break;
        case COMMAND_HOOK_OPEN:
            cmdObject.operation = cmd->operation;
            cmdObject.task = executeCmdOpen;

            break;
        case COMMAND_HOOK_MID_OPEN:
            cmdObject.operation = cmd->operation;
            cmdObject.task = executeCmdMidOpen;

            break;
        default:

            break;
        }
    }

    if (cmd) // exists, then execute its task and process result
    {
        cmd = process(cmd, &cmdObject);
    }
}

static CommandInput_t *process(CommandInput_t *cmd, CommandObject_t *cmdObject)
{
    ++cmdObject->timer;
    CommandInput_t *result = cmd;
    CommandState_e state = cmdObject->task(cmdObject);

    if (cmdObject->timer > TIMEOUT_COMMAND)
    {
        database_setError(ERROR_COMMAND_TIMEOUT);
        result = requestStop();
        LOG_WRN("[ERROR] Timeout, request stop...");
    }
    else if (database_getError() == ERROR_ESTOP && (cmdObject->operation == COMMAND_HOMING))
    {
        result = requestStop();
        LOG_WRN("[ERROR] ESTOP, Request stop...");
    }
    else if (database_getError() && (cmdObject->operation != COMMAND_STOP) && (cmdObject->operation != COMMAND_EACK) && (cmdObject->operation != COMMAND_HOMING))
    {
        LOG_WRN("[ERROR] Error, request stop...");
        result = requestStop();
    }

    if (COMMAND_STATE_FINISH == state)
    {
        result = NULL;
        LOG_INF("Command terminated!");
    }

    return result;
}

static CommandInput_t *requestStop(void)
{
    remote_updateHookState(HOOK_STATE_ERROR);
    CommandInput_t cmd = {.operation = COMMAND_STOP};
    command_addToBuffer(&cmd);
    return NULL;
}
```
